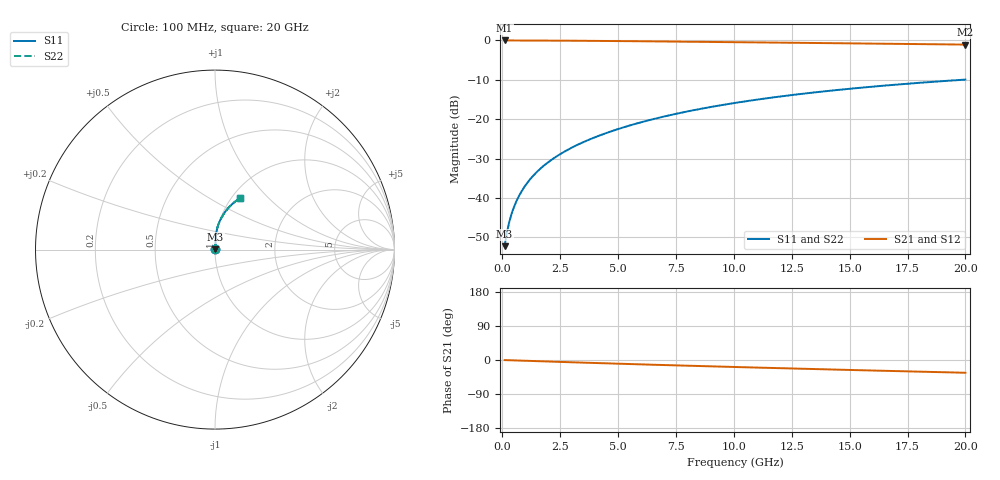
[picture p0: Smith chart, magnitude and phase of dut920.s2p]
! Touchstone file exported from HFSS 2024.1.0
!  File:  C:/UserFiles/LocalFiles/RDL_TSV_Batchsim/temp_RDL_top_920_1779936597.aedt
!  Generated:  10:52:13 AM May 28, 2026
!  Design:  RDL_top
!  Project:  temp_RDL_top_920_1779936597
!  Setup:  Setup1
!  Solution:  Sweep
! Variables:
!  dtsv = 10.80580581um
!  hbump = 3um
!  htsv = 92.49um
!  ldown = 100um
!  lrdl = 450.44um
!  p = 40
!  p1 = 56.07um
!  rhole = 1um
!  t = 450um
!  tdown = 3.915915916um
!  trdl = 3.92um
!  wdown = 15.38538539um
!  wrdl = 24.4um
# GHz S MA R 50.000000
! Terminal data exported
! Port[1] = Box2_T1
! Port[2] = Box2_T2
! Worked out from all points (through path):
!   200 points, 100 MHz to 20 GHz, reference 50 ohm
!   highest |S21| = -0.02 dB at 100 MHz (marker M1); lowest = -1.1 dB at 20 GHz (marker M2)
!   group delay of S21, straight-line fit = 4.62 ps
!   lowest |S11| = -52.3 dB at 100 MHz (marker M3), VSWR 1.00, Z = 50.2 + j0.157 ohm
!   |S11| at or under -10 dB: start of sweep to 19.89 GHz
!   |S22| runs from -52.3 to -10.0 dB; largest |S21 - S12| = 3.4e-15
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0.1  0.002439 39.9  0.9981 -0.2  0.9981 -0.2  0.002439 39.9
! Gamma 0 0 0 0
! Port Impedance 50 0 50 0
0.2  0.003642 57.1  0.998 -0.4  0.998 -0.4  0.003642 57.1
0.3  0.004944 65.1  0.9978 -0.6  0.9978 -0.6  0.004944 65.1
0.4  0.006265 69.9  0.9977 -0.8  0.9977 -0.8  0.006265 69.9
0.5  0.007598 73.2  0.9976 -1.0  0.9976 -1.0  0.007598 73.2
0.6  0.008944 75.6  0.9974 -1.2  0.9974 -1.2  0.008944 75.6
0.8  0.01167 78.8  0.9972 -1.6  0.9972 -1.6  0.01167 78.8
1.1  0.01583 81.7  0.9967 -2.2  0.9967 -2.2  0.01583 81.7
1.5  0.02147 83.9  0.9958 -3.0  0.9958 -3.0  0.02147 83.9
1.8  0.02576 84.9  0.995 -3.6  0.995 -3.6  0.02576 84.9
2.1  0.0301 85.7  0.9942 -4.2  0.9942 -4.2  0.0301 85.7
2.7  0.03894 86.5  0.992 -5.4  0.992 -5.4  0.03894 86.5
3.5  0.05107 87.0  0.9886 -7.0  0.9886 -7.0  0.05107 87.0
4.2  0.06201 87.0  0.9851 -8.3  0.9851 -8.3  0.062 87.0
5  0.07486 86.7  0.9807 -9.8  0.9807 -9.8  0.07485 86.7
6.8  0.1049 85.1  0.9699 -13.0  0.9699 -13.0  0.1048 85.1
8.4  0.1323 83.0  0.9598 -15.8  0.9598 -15.8  0.1322 83.0
10.1  0.1616 80.4  0.9489 -18.6  0.9489 -18.6  0.1615 80.4
11.7  0.1889 77.8  0.9386 -21.1  0.9386 -21.1  0.1888 77.8
13.4  0.2172 75.0  0.9277 -23.8  0.9277 -23.8  0.2172 75.0
16.7  0.2696 69.5  0.9063 -28.8  0.9063 -28.8  0.2696 69.5
20  0.3178 64.1  0.8846 -33.7  0.8846 -33.7  0.3177 64.2
